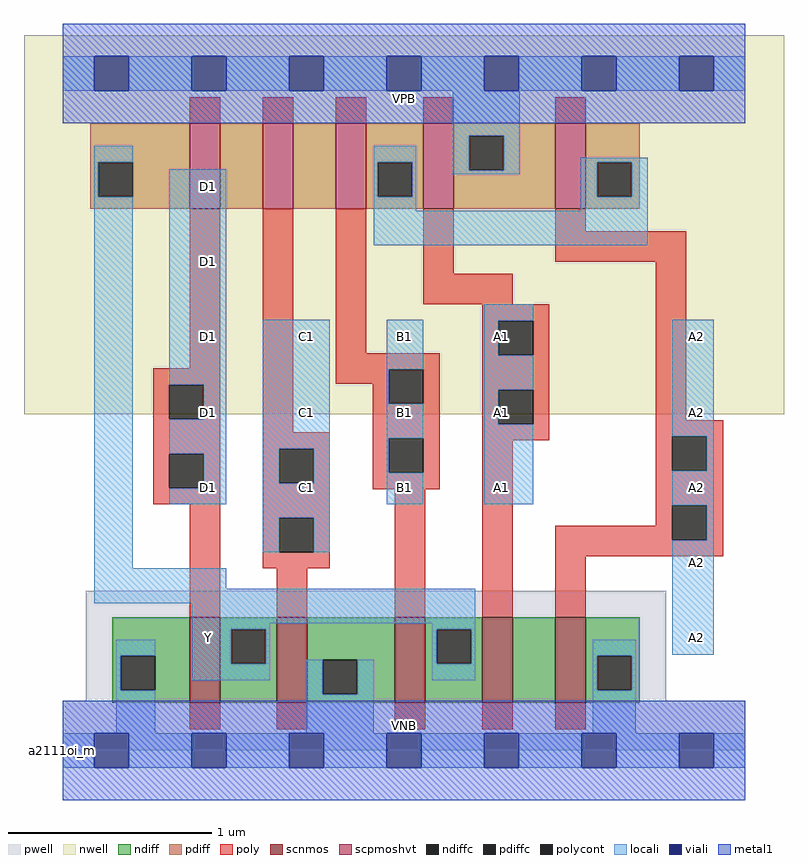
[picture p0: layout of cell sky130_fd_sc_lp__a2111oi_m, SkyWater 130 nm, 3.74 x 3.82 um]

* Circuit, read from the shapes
.subckt sky130_fd_sc_lp__a2111oi_m A1 A2 B1 C1 D1 VGND VNB VPB VPWR Y
XM1 Y D1 VGND VNB sky130_fd_pr__nfet_01v8 w=0.42 l=0.15
XM2 VGND C1 Y VNB sky130_fd_pr__nfet_01v8 w=0.42 l=0.15
XM3 Y B1 VGND VNB sky130_fd_pr__nfet_01v8 w=0.42 l=0.15
XM4 n1 A1 Y VNB sky130_fd_pr__nfet_01v8 w=0.42 l=0.15
XM5 VGND A2 n1 VNB sky130_fd_pr__nfet_01v8 w=0.42 l=0.15
XM6 n2 D1 Y VPB sky130_fd_pr__pfet_01v8_hvt w=0.42 l=0.15
XM7 n3 C1 n2 VPB sky130_fd_pr__pfet_01v8_hvt w=0.42 l=0.15
XM8 n4 B1 n3 VPB sky130_fd_pr__pfet_01v8_hvt w=0.42 l=0.15
XM9 VPWR A1 n4 VPB sky130_fd_pr__pfet_01v8_hvt w=0.42 l=0.15
XM10 n4 A2 VPWR VPB sky130_fd_pr__pfet_01v8_hvt w=0.42 l=0.15
.ends

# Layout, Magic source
magic
tech sky130A
magscale 1 2
<< nwell >>
rect -38 331 710 704
<< pwell >>
rect 23 49 594 157
rect 0 0 672 49
<< scnmos >>
rect 125 47 155 131
rect 211 47 241 131
rect 327 47 357 131
rect 413 47 443 131
rect 485 47 515 131
<< scpmoshvt >>
rect 125 533 155 617
rect 197 533 227 617
rect 269 533 299 617
rect 355 533 385 617
rect 485 533 515 617
<< ndiff >>
rect 49 93 125 131
rect 49 59 57 93
rect 91 59 125 93
rect 49 47 125 59
rect 155 119 211 131
rect 155 85 166 119
rect 200 85 211 119
rect 155 47 211 85
rect 241 89 327 131
rect 241 55 256 89
rect 290 55 327 89
rect 241 47 327 55
rect 357 119 413 131
rect 357 85 368 119
rect 402 85 413 119
rect 357 47 413 85
rect 443 47 485 131
rect 515 93 568 131
rect 515 59 526 93
rect 560 59 568 93
rect 515 47 568 59
<< pdiff >>
rect 27 579 125 617
rect 27 545 35 579
rect 69 545 125 579
rect 27 533 125 545
rect 155 533 197 617
rect 227 533 269 617
rect 299 579 355 617
rect 299 545 310 579
rect 344 545 355 579
rect 299 533 355 545
rect 385 605 485 617
rect 385 571 400 605
rect 434 571 485 605
rect 385 533 485 571
rect 515 579 568 617
rect 515 545 526 579
rect 560 545 568 579
rect 515 533 568 545
<< ndiffc >>
rect 57 59 91 93
rect 166 85 200 119
rect 256 55 290 89
rect 368 85 402 119
rect 526 59 560 93
<< pdiffc >>
rect 35 545 69 579
rect 310 545 344 579
rect 400 571 434 605
rect 526 545 560 579
<< poly >>
rect 125 617 155 643
rect 197 617 227 643
rect 269 617 299 643
rect 355 617 385 643
rect 485 617 515 643
rect 125 376 155 533
rect 89 360 155 376
rect 89 326 105 360
rect 139 326 155 360
rect 89 292 155 326
rect 89 258 105 292
rect 139 258 155 292
rect 89 242 155 258
rect 125 131 155 242
rect 197 313 227 533
rect 269 391 299 533
rect 355 469 385 533
rect 485 511 515 533
rect 485 481 614 511
rect 355 439 443 469
rect 413 423 479 439
rect 269 375 371 391
rect 269 361 321 375
rect 305 341 321 361
rect 355 341 371 375
rect 197 297 263 313
rect 197 263 213 297
rect 247 263 263 297
rect 197 229 263 263
rect 305 307 371 341
rect 305 273 321 307
rect 355 273 371 307
rect 305 257 371 273
rect 413 389 429 423
rect 463 389 479 423
rect 413 355 479 389
rect 413 321 429 355
rect 463 321 479 355
rect 413 305 479 321
rect 584 325 614 481
rect 584 309 650 325
rect 197 195 213 229
rect 247 195 263 229
rect 197 179 263 195
rect 211 131 241 179
rect 327 131 357 257
rect 413 131 443 305
rect 584 275 600 309
rect 634 275 650 309
rect 584 241 650 275
rect 584 221 600 241
rect 485 207 600 221
rect 634 207 650 241
rect 485 191 650 207
rect 485 131 515 191
rect 125 21 155 47
rect 211 21 241 47
rect 327 21 357 47
rect 413 21 443 47
rect 485 21 515 47
<< polycont >>
rect 105 326 139 360
rect 105 258 139 292
rect 321 341 355 375
rect 213 263 247 297
rect 321 273 355 307
rect 429 389 463 423
rect 429 321 463 355
rect 213 195 247 229
rect 600 275 634 309
rect 600 207 634 241
<< locali >>
rect 0 649 31 683
rect 65 649 127 683
rect 161 649 223 683
rect 257 649 319 683
rect 353 649 415 683
rect 449 649 511 683
rect 545 649 607 683
rect 641 649 672 683
rect 384 605 450 649
rect 31 579 69 595
rect 31 545 35 579
rect 306 579 348 595
rect 31 179 69 545
rect 105 360 161 572
rect 306 545 310 579
rect 344 545 348 579
rect 384 571 400 605
rect 434 571 450 605
rect 384 567 450 571
rect 510 579 576 583
rect 306 531 348 545
rect 510 545 526 579
rect 560 545 576 579
rect 510 531 576 545
rect 306 497 576 531
rect 139 326 161 360
rect 105 292 161 326
rect 139 258 161 292
rect 105 242 161 258
rect 197 297 263 424
rect 197 263 213 297
rect 247 263 263 297
rect 197 229 263 263
rect 319 375 355 424
rect 319 341 321 375
rect 319 307 355 341
rect 319 273 321 307
rect 319 242 355 273
rect 415 423 463 439
rect 415 389 429 423
rect 415 355 463 389
rect 415 321 429 355
rect 415 242 463 321
rect 600 309 641 424
rect 634 275 641 309
rect 197 195 213 229
rect 247 195 263 229
rect 600 241 641 275
rect 634 207 641 241
rect 31 159 161 179
rect 31 145 406 159
rect 127 125 406 145
rect 127 119 204 125
rect 53 93 91 109
rect 53 59 57 93
rect 127 85 166 119
rect 200 85 204 119
rect 364 119 406 125
rect 127 69 204 85
rect 53 17 91 59
rect 240 55 256 89
rect 290 55 306 89
rect 364 85 368 119
rect 402 85 406 119
rect 364 69 406 85
rect 522 93 564 109
rect 600 94 641 207
rect 240 17 306 55
rect 522 59 526 93
rect 560 59 564 93
rect 522 17 564 59
rect 0 -17 31 17
rect 65 -17 127 17
rect 161 -17 223 17
rect 257 -17 319 17
rect 353 -17 415 17
rect 449 -17 511 17
rect 545 -17 607 17
rect 641 -17 672 17
<< viali >>
rect 31 649 65 683
rect 127 649 161 683
rect 223 649 257 683
rect 319 649 353 683
rect 415 649 449 683
rect 511 649 545 683
rect 607 649 641 683
rect 31 -17 65 17
rect 127 -17 161 17
rect 223 -17 257 17
rect 319 -17 353 17
rect 415 -17 449 17
rect 511 -17 545 17
rect 607 -17 641 17
<< metal1 >>
rect 0 683 672 715
rect 0 649 31 683
rect 65 649 127 683
rect 161 649 223 683
rect 257 649 319 683
rect 353 649 415 683
rect 449 649 511 683
rect 545 649 607 683
rect 641 649 672 683
rect 0 617 672 649
rect 0 17 672 49
rect 0 -17 31 17
rect 65 -17 127 17
rect 161 -17 223 17
rect 257 -17 319 17
rect 353 -17 415 17
rect 449 -17 511 17
rect 545 -17 607 17
rect 641 -17 672 17
rect 0 -49 672 -17
<< labels >>
flabel pwell s 0 0 672 49 0 FreeSans 200 0 0 0 VNB
port 7 nsew ground bidirectional
flabel nwell s 0 617 672 666 0 FreeSans 200 0 0 0 VPB
port 8 nsew power bidirectional
rlabel comment s 0 0 0 0 4 a2111oi_m
flabel metal1 s 0 617 672 666 0 FreeSans 340 0 0 0 VPWR
port 9 nsew power bidirectional
flabel metal1 s 0 0 672 49 0 FreeSans 340 0 0 0 VGND
port 6 nsew ground bidirectional
flabel locali s 415 242 449 276 0 FreeSans 340 0 0 0 A1
port 1 nsew signal input
flabel locali s 415 316 449 350 0 FreeSans 340 0 0 0 A1
port 1 nsew signal input
flabel locali s 415 390 449 424 0 FreeSans 340 0 0 0 A1
port 1 nsew signal input
flabel locali s 127 94 161 128 0 FreeSans 340 0 0 0 Y
port 10 nsew signal output
flabel locali s 607 94 641 128 0 FreeSans 340 0 0 0 A2
port 2 nsew signal input
flabel locali s 607 168 641 202 0 FreeSans 340 0 0 0 A2
port 2 nsew signal input
flabel locali s 607 242 641 276 0 FreeSans 340 0 0 0 A2
port 2 nsew signal input
flabel locali s 607 316 641 350 0 FreeSans 340 0 0 0 A2
port 2 nsew signal input
flabel locali s 607 390 641 424 0 FreeSans 340 0 0 0 A2
port 2 nsew signal input
flabel locali s 319 242 353 276 0 FreeSans 340 0 0 0 B1
port 3 nsew signal input
flabel locali s 319 316 353 350 0 FreeSans 340 0 0 0 B1
port 3 nsew signal input
flabel locali s 319 390 353 424 0 FreeSans 340 0 0 0 B1
port 3 nsew signal input
flabel locali s 223 242 257 276 0 FreeSans 340 0 0 0 C1
port 4 nsew signal input
flabel locali s 223 316 257 350 0 FreeSans 340 0 0 0 C1
port 4 nsew signal input
flabel locali s 223 390 257 424 0 FreeSans 340 0 0 0 C1
port 4 nsew signal input
flabel locali s 127 242 161 276 0 FreeSans 340 0 0 0 D1
port 5 nsew signal input
flabel locali s 127 316 161 350 0 FreeSans 340 0 0 0 D1
port 5 nsew signal input
flabel locali s 127 390 161 424 0 FreeSans 340 0 0 0 D1
port 5 nsew signal input
flabel locali s 127 464 161 498 0 FreeSans 340 0 0 0 D1
port 5 nsew signal input
flabel locali s 127 538 161 572 0 FreeSans 340 0 0 0 D1
port 5 nsew signal input
<< properties >>
string LEFsite unit
string LEFclass CORE
string FIXED_BBOX 0 0 672 666
string GDS_FILE $PDKPATH/libs.ref/sky130_fd_sc_lp/gds/sky130_fd_sc_lp.gds
string LEFsymmetry X Y R90
string GDS_END 4890710
string GDS_START 4883102
<< end >>
